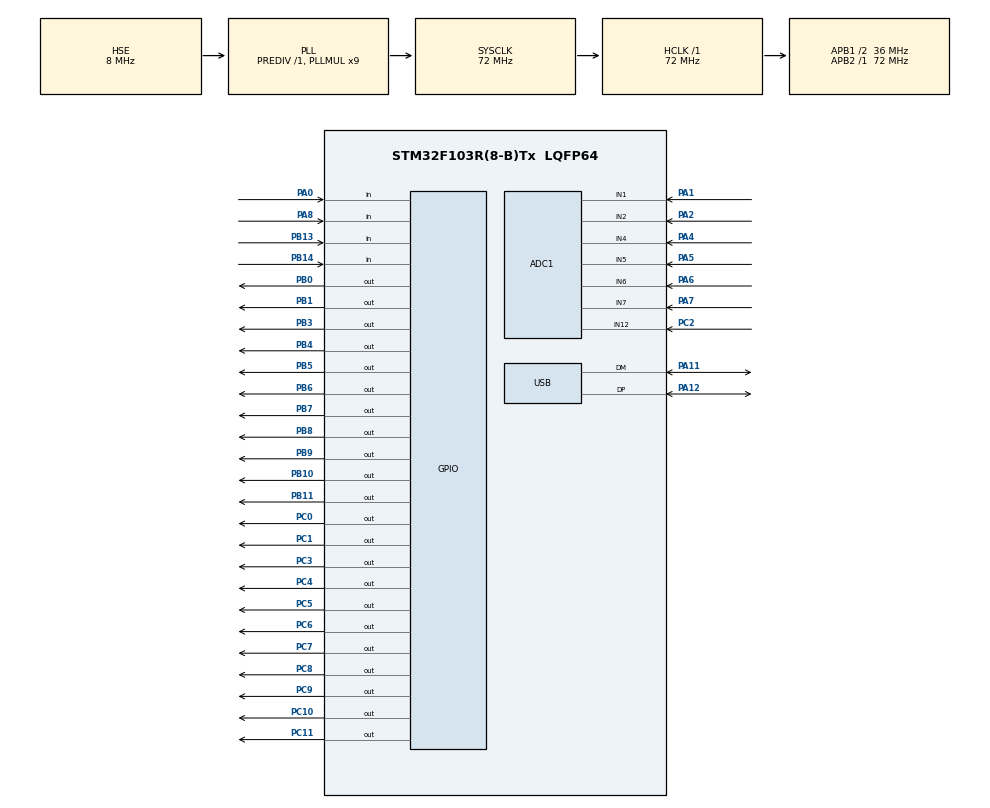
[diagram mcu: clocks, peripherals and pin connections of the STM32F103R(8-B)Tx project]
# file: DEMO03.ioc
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ADC1.Channel-10\#ChannelRegularConversion=ADC_CHANNEL_7
ADC1.Channel-4\#ChannelRegularConversion=ADC_CHANNEL_1
ADC1.Channel-5\#ChannelRegularConversion=ADC_CHANNEL_2
ADC1.Channel-6\#ChannelRegularConversion=ADC_CHANNEL_12
ADC1.Channel-7\#ChannelRegularConversion=ADC_CHANNEL_4
ADC1.Channel-8\#ChannelRegularConversion=ADC_CHANNEL_5
ADC1.Channel-9\#ChannelRegularConversion=ADC_CHANNEL_6
ADC1.ContinuousConvMode=ENABLE
ADC1.EnableAnalogWatchDog=false
ADC1.NbrOfConversion=7
ADC1.NbrOfConversionFlag=1
ADC1.Rank-10\#ChannelRegularConversion=7
ADC1.Rank-4\#ChannelRegularConversion=1
ADC1.Rank-5\#ChannelRegularConversion=2
ADC1.Rank-6\#ChannelRegularConversion=3
ADC1.Rank-7\#ChannelRegularConversion=4
ADC1.Rank-8\#ChannelRegularConversion=5
ADC1.Rank-9\#ChannelRegularConversion=6
ADC1.SamplingTime-10\#ChannelRegularConversion=ADC_SAMPLETIME_239CYCLES_5
ADC1.SamplingTime-4\#ChannelRegularConversion=ADC_SAMPLETIME_239CYCLES_5
ADC1.SamplingTime-5\#ChannelRegularConversion=ADC_SAMPLETIME_239CYCLES_5
ADC1.SamplingTime-6\#ChannelRegularConversion=ADC_SAMPLETIME_239CYCLES_5
ADC1.SamplingTime-7\#ChannelRegularConversion=ADC_SAMPLETIME_239CYCLES_5
ADC1.SamplingTime-8\#ChannelRegularConversion=ADC_SAMPLETIME_239CYCLES_5
ADC1.SamplingTime-9\#ChannelRegularConversion=ADC_SAMPLETIME_239CYCLES_5
ADC1.master=1
Dma.ADC1.0.Direction=DMA_PERIPH_TO_MEMORY
Dma.ADC1.0.Instance=DMA1_Channel1
Dma.ADC1.0.MemDataAlignment=DMA_MDATAALIGN_HALFWORD
Dma.ADC1.0.MemInc=DMA_MINC_ENABLE
Dma.ADC1.0.Mode=DMA_NORMAL
Dma.ADC1.0.PeriphDataAlignment=DMA_PDATAALIGN_HALFWORD
Dma.ADC1.0.PeriphInc=DMA_PINC_DISABLE
Dma.ADC1.0.Priority=DMA_PRIORITY_LOW
Dma.Request0=ADC1
Mcu.Family=STM32F1
Mcu.Name=STM32F103R(8-B)Tx
Mcu.Package=LQFP64
NVIC.DMA1_Channel1_IRQn=true\:0\:0\:false\:false\:true\:false\:true\:true
NVIC.PriorityGroup=NVIC_PRIORITYGROUP_4
NVIC.USB_LP_CAN1_RX0_IRQn=true\:0\:0\:false\:false\:true\:false\:true\:true
PA0-WKUP.Signal=GPIO_Input
PA1.Signal=ADCx_IN1
PA11.Mode=Device
PA11.Signal=USB_DM
PA12.Mode=Device
PA12.Signal=USB_DP
PA13.Mode=Serial_Wire
PA13.Signal=SYS_JTMS-SWDIO
PA14.Mode=Serial_Wire
PA14.Signal=SYS_JTCK-SWCLK
PA2.Signal=ADCx_IN2
PA4.Signal=ADCx_IN4
PA5.Signal=ADCx_IN5
PA6.Signal=ADCx_IN6
PA7.Signal=ADCx_IN7
PA8.Signal=GPIO_Input
PB0.Signal=GPIO_Output
PB1.Signal=GPIO_Output
PB10.Signal=GPIO_Output
PB11.Signal=GPIO_Output
PB13.Signal=GPIO_Input
PB14.Signal=GPIO_Input
PB3.Signal=GPIO_Output
PB4.Signal=GPIO_Output
PB5.Signal=GPIO_Output
PB6.Signal=GPIO_Output
PB7.Signal=GPIO_Output
PB8.Signal=GPIO_Output
PB9.Signal=GPIO_Output
PC0.Signal=GPIO_Output
PC1.Signal=GPIO_Output
PC10.Signal=GPIO_Output
PC11.Signal=GPIO_Output
PC2.Signal=ADCx_IN12
PC3.Signal=GPIO_Output
PC4.Signal=GPIO_Output
PC5.Signal=GPIO_Output
PC6.Signal=GPIO_Output
PC7.Signal=GPIO_Output
PC8.Signal=GPIO_Output
PC9.Signal=GPIO_Output
PD0-OSC_IN.Mode=HSE-External-Oscillator
PD0-OSC_IN.Signal=RCC_OSC_IN
PD1-OSC_OUT.Mode=HSE-External-Oscillator
PD1-OSC_OUT.Signal=RCC_OSC_OUT
ProjectManager.HeapSize=0x200
ProjectManager.StackSize=0x400
ProjectManager.TargetToolchain=MDK-ARM V5.32
RCC.ADCPresc=RCC_ADCPCLK2_DIV6
RCC.AHBFreq_Value=72000000
RCC.APB1CLKDivider=RCC_HCLK_DIV2
RCC.APB1Freq_Value=36000000
RCC.APB1TimFreq_Value=72000000
RCC.APB2Freq_Value=72000000
RCC.APB2TimFreq_Value=72000000
RCC.HCLKFreq_Value=72000000
RCC.PLLMUL=RCC_PLL_MUL9
RCC.SYSCLKFreq_VALUE=72000000
RCC.SYSCLKSource=RCC_SYSCLKSOURCE_PLLCLK
RCC.USBFreq_Value=48000000
RCC.USBPrescaler=RCC_USBCLKSOURCE_PLL_DIV1_5
SH.ADCx_IN1.0=ADC1_IN1,IN1
SH.ADCx_IN12.0=ADC1_IN12,IN12
SH.ADCx_IN2.0=ADC1_IN2,IN2
SH.ADCx_IN4.0=ADC1_IN4,IN4
SH.ADCx_IN5.0=ADC1_IN5,IN5
SH.ADCx_IN6.0=ADC1_IN6,IN6
SH.ADCx_IN7.0=ADC1_IN7,IN7
USB_DEVICE.CLASS_NAME_FS=CUSTOM_HID
USB_DEVICE.USBD_CUSTOMHID_OUTREPORT_BUF_SIZE=64
USB_DEVICE.USBD_CUSTOM_HID_REPORT_DESC_SIZE=30
USB_DEVICE.VirtualMode=CustomHid
USB_DEVICE.VirtualModeFS=Custom_Hid_FS
VP_USB_DEVICE_VS_USB_DEVICE_CUSTOM_HID_FS.Mode=CUSTOM_HID_FS
board=custom

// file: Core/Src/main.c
/* USER CODE BEGIN Header */
/**
  ******************************************************************************
  * @file           : main.c
  * @brief          : Main program body
  ******************************************************************************
  * @attention
  *
  * Copyright (c) 2024 STMicroelectronics.
  * All rights reserved.
  *
  * This software is licensed under terms that can be found in the LICENSE file
  * in the root directory of this software component.
  * If no LICENSE file comes with this software, it is provided AS-IS.
  *
  ******************************************************************************
  */
/* USER CODE END Header */
#include "main.h"
#include "usb_device.h"

/* USER CODE BEGIN Includes */
#include <stdio.h>
#include "usbd_customhid.h"
#define VREF_CAL *(_IO uint16_t*) ()
/* USER CODE END Includes */

/* USER CODE BEGIN PTD */
extern USBD_HandleTypeDef hUsbDeviceFS;
uint8_t USBdataFlag;
uint8_t USBRxBuff[64];
/* USER CODE END PTD */

ADC_HandleTypeDef hadc1;
DMA_HandleTypeDef hdma_adc1;

void SystemClock_Config(void);
static void MX_GPIO_Init(void);
static void MX_DMA_Init(void);
static void MX_ADC1_Init(void);

/* USER CODE BEGIN 0 */
typedef union
{
	struct
	{
		unsigned char low_byte;
		unsigned char mlow_byte;
		unsigned char mhigh_byte;
		unsigned char high_byte;
	}float_byte;

	float  value;
}floatUnionType;

int numbers[10] = {0x0e62,0X0202,0x0e28,0x062a,0x024a,0x046a,0x0c6a,0x0222,0x0e6a,0x066a};
int chars[] = {0x0c68,0x0a6a};
//int numbers[10] = {0x0ff2,0x0392,0x0fb8,0x07ba,0x03da,0x05fa,0x0dfa,0x03b2,0x0ffa,0x07fa};
int count = 0;
void func1(int c){
	switch(c){
		case 0:
			HAL_GPIO_WritePin(GPIOB,GPIO_PIN_4,GPIO_PIN_SET);
			HAL_GPIO_WritePin(GPIOB,GPIO_PIN_7,GPIO_PIN_SET);
			HAL_GPIO_WritePin(GPIOB,GPIO_PIN_8,GPIO_PIN_RESET);
		break;
		case 1:
			HAL_GPIO_WritePin(GPIOB,GPIO_PIN_4,GPIO_PIN_SET);
			HAL_GPIO_WritePin(GPIOB,GPIO_PIN_7,GPIO_PIN_RESET);
			HAL_GPIO_WritePin(GPIOB,GPIO_PIN_8,GPIO_PIN_SET);
		break;
		case 2:
			HAL_GPIO_WritePin(GPIOB,GPIO_PIN_4,GPIO_PIN_RESET);
			HAL_GPIO_WritePin(GPIOB,GPIO_PIN_7,GPIO_PIN_SET);
			HAL_GPIO_WritePin(GPIOB,GPIO_PIN_8,GPIO_PIN_SET);
		break;
		default:
			count = 0;
		break;
	}
	HAL_Delay(2);
	HAL_GPIO_WritePin(GPIOB,0x0190,GPIO_PIN_SET);
}

void func2(int c){
	switch(c){
		case 0:
			HAL_GPIO_WritePin(GPIOC,GPIO_PIN_4,GPIO_PIN_SET);
			HAL_GPIO_WritePin(GPIOC,GPIO_PIN_7,GPIO_PIN_SET);
			HAL_GPIO_WritePin(GPIOC,GPIO_PIN_8,GPIO_PIN_RESET);
		break;
		case 1:
			HAL_GPIO_WritePin(GPIOC,GPIO_PIN_4,GPIO_PIN_SET);
			HAL_GPIO_WritePin(GPIOC,GPIO_PIN_7,GPIO_PIN_RESET);
			HAL_GPIO_WritePin(GPIOC,GPIO_PIN_8,GPIO_PIN_SET);
		break;
		case 2:
			HAL_GPIO_WritePin(GPIOC,GPIO_PIN_4,GPIO_PIN_RESET);
			HAL_GPIO_WritePin(GPIOC,GPIO_PIN_7,GPIO_PIN_SET);
			HAL_GPIO_WritePin(GPIOC,GPIO_PIN_8,GPIO_PIN_SET);
		break;
		default:
			count = 0;
		break;
	}
	HAL_Delay(2);
	HAL_GPIO_WritePin(GPIOB,0x0190,GPIO_PIN_SET);
}

void show3(double num){
	HAL_GPIO_WritePin(GPIOB,0x0e6a,GPIO_PIN_RESET);
	if(num>0&&num<100){
		if(num<10&&num>1){
			HAL_GPIO_WritePin(GPIOB,numbers[(int)num],GPIO_PIN_SET);
			HAL_GPIO_WritePin(GPIOB,GPIO_PIN_0,GPIO_PIN_SET);
			func1(2);
			HAL_GPIO_WritePin(GPIOB,0x0e6a,GPIO_PIN_RESET);
			HAL_GPIO_WritePin(GPIOB,GPIO_PIN_0,GPIO_PIN_RESET);
			HAL_GPIO_WritePin(GPIOB,numbers[((int)(num*10))%10],GPIO_PIN_SET);

			func1(1);
			HAL_GPIO_WritePin(GPIOB,0x0e6a,GPIO_PIN_RESET);

			HAL_GPIO_WritePin(GPIOB,numbers[((int)(num*100))%10],GPIO_PIN_SET);
			func1(0);
		}else if(num>10){
			HAL_GPIO_WritePin(GPIOB,numbers[(int)(num/10)],GPIO_PIN_SET);
			func1(2);
			HAL_GPIO_WritePin(GPIOB,0x0e6a,GPIO_PIN_RESET);
			HAL_GPIO_WritePin(GPIOB,numbers[((int)num)%10],GPIO_PIN_SET);
			HAL_GPIO_WritePin(GPIOB,GPIO_PIN_0,GPIO_PIN_SET);
			func1(1);
			HAL_GPIO_WritePin(GPIOB,0x0e6a,GPIO_PIN_RESET);
			HAL_GPIO_WritePin(GPIOB,GPIO_PIN_0,GPIO_PIN_RESET);
			HAL_GPIO_WritePin(GPIOB,numbers[((int)(num*10))%10],GPIO_PIN_SET);
			func1(0);
		}else if(num<1){
			HAL_GPIO_WritePin(GPIOB,numbers[0],GPIO_PIN_SET);
			HAL_GPIO_WritePin(GPIOB,GPIO_PIN_0,GPIO_PIN_SET);
			func1(2);
			HAL_GPIO_WritePin(GPIOB,GPIO_PIN_0,GPIO_PIN_RESET);
			HAL_GPIO_WritePin(GPIOB,0x0e6a,GPIO_PIN_RESET);
			HAL_GPIO_WritePin(GPIOB,numbers[((int)(num*10))%10],GPIO_PIN_SET);
			func1(1);
			HAL_GPIO_WritePin(GPIOB,0x0e6a,GPIO_PIN_RESET);
			HAL_GPIO_WritePin(GPIOB,numbers[((int)(num*100))%10],GPIO_PIN_SET);
			func1(0);
		}
	}else if(num<0.0000001){
			HAL_GPIO_WritePin(GPIOB,numbers[0],GPIO_PIN_SET);
			HAL_GPIO_WritePin(GPIOB,GPIO_PIN_0,GPIO_PIN_SET);
			func1(2);
			HAL_GPIO_WritePin(GPIOB,GPIO_PIN_0,GPIO_PIN_RESET);
			HAL_GPIO_WritePin(GPIOB,0x0e6a,GPIO_PIN_RESET);
			HAL_GPIO_WritePin(GPIOB,numbers[0],GPIO_PIN_SET);
			func1(1);
			HAL_GPIO_WritePin(GPIOB,0x0e6a,GPIO_PIN_RESET);
			HAL_GPIO_WritePin(GPIOB,numbers[0],GPIO_PIN_SET);
			func1(0);
	}else{
			HAL_GPIO_WritePin(GPIOB,chars[0],GPIO_PIN_SET);
			func1(2);
			HAL_GPIO_WritePin(GPIOB,0x0e6a,GPIO_PIN_RESET);
			HAL_GPIO_WritePin(GPIOB,chars[1],GPIO_PIN_SET);
			func1(1);
			HAL_GPIO_WritePin(GPIOB,0x0e6a,GPIO_PIN_RESET);
			HAL_GPIO_WritePin(GPIOB,chars[1],GPIO_PIN_SET);
			func1(0);
	}
}

void show4(double num){
	HAL_GPIO_WritePin(GPIOC,0x0e6a,GPIO_PIN_RESET);
	if(num>0&&num<100){
		if(num<10&&num>1){
			HAL_GPIO_WritePin(GPIOC,numbers[(int)num],GPIO_PIN_SET);
			HAL_GPIO_WritePin(GPIOC,GPIO_PIN_0,GPIO_PIN_SET);
			func2(2);
			HAL_GPIO_WritePin(GPIOC,0x0e6a,GPIO_PIN_RESET);
			HAL_GPIO_WritePin(GPIOC,GPIO_PIN_0,GPIO_PIN_RESET);
			HAL_GPIO_WritePin(GPIOC,numbers[((int)(num*10))%10],GPIO_PIN_SET);

			func2(1);
			HAL_GPIO_WritePin(GPIOC,0x0e6a,GPIO_PIN_RESET);

			HAL_GPIO_WritePin(GPIOC,numbers[((int)(num*100))%10],GPIO_PIN_SET);
			func2(0);
		}else if(num>10){
			HAL_GPIO_WritePin(GPIOC,numbers[(int)(num/10)],GPIO_PIN_SET);
			func2(2);
			HAL_GPIO_WritePin(GPIOC,0x0e6a,GPIO_PIN_RESET);
			HAL_GPIO_WritePin(GPIOC,numbers[((int)num)%10],GPIO_PIN_SET);
			HAL_GPIO_WritePin(GPIOC,GPIO_PIN_0,GPIO_PIN_SET);
			func2(1);
			HAL_GPIO_WritePin(GPIOC,0x0e6a,GPIO_PIN_RESET);
			HAL_GPIO_WritePin(GPIOC,GPIO_PIN_0,GPIO_PIN_RESET);
			HAL_GPIO_WritePin(GPIOC,numbers[((int)(num*10))%10],GPIO_PIN_SET);
			func2(0);
		}else if(num<1){
			HAL_GPIO_WritePin(GPIOC,numbers[0],GPIO_PIN_SET);
			HAL_GPIO_WritePin(GPIOC,GPIO_PIN_0,GPIO_PIN_SET);
			func2(2);
			HAL_GPIO_WritePin(GPIOC,GPIO_PIN_0,GPIO_PIN_RESET);
			HAL_GPIO_WritePin(GPIOC,0x0e6a,GPIO_PIN_RESET);
			HAL_GPIO_WritePin(GPIOC,numbers[((int)(num*10))%10],GPIO_PIN_SET);
			func2(1);
			HAL_GPIO_WritePin(GPIOC,0x0e6a,GPIO_PIN_RESET);
			HAL_GPIO_WritePin(GPIOC,numbers[((int)(num*100))%10],GPIO_PIN_SET);
			func2(0);
		}
	}else if(num<0.0000001){
			HAL_GPIO_WritePin(GPIOC,numbers[0],GPIO_PIN_SET);
			HAL_GPIO_WritePin(GPIOC,GPIO_PIN_0,GPIO_PIN_SET);
			func2(2);
			HAL_GPIO_WritePin(GPIOC,GPIO_PIN_0,GPIO_PIN_RESET);
			HAL_GPIO_WritePin(GPIOC,0x0e6a,GPIO_PIN_RESET);
			HAL_GPIO_WritePin(GPIOC,numbers[0],GPIO_PIN_SET);
			func2(1);
			HAL_GPIO_WritePin(GPIOC,0x0e6a,GPIO_PIN_RESET);
			HAL_GPIO_WritePin(GPIOC,numbers[0],GPIO_PIN_SET);
			func2(0);
	}else{
			HAL_GPIO_WritePin(GPIOC,chars[0],GPIO_PIN_SET);
			func2(2);
			HAL_GPIO_WritePin(GPIOC,0x0e6a,GPIO_PIN_RESET);
			HAL_GPIO_WritePin(GPIOC,chars[1],GPIO_PIN_SET);
			func2(1);
			HAL_GPIO_WritePin(GPIOC,0x0e6a,GPIO_PIN_RESET);
			HAL_GPIO_WritePin(GPIOC,chars[1],GPIO_PIN_SET);
			func2(0);
	}
}

HAL_StatusTypeDef HAL_ADC_Start_DMA(ADC_HandleTypeDef* hadc, uint32_t* pData, uint32_t Length);
unsigned short val[9];//??????DMA????????
float vii[8];//???????????
	void HAL_ADC_ConvCpltCallback(ADC_HandleTypeDef* hadc)
{
	for(int8_t i = 0; i < 2; i++) {
	vii[i] = (val[i] / 4095.0) * 3.274; //?????:3.274V
}
}
/* USER CODE END 0 */

int main(void)
{

  /* MCU Configuration--------------------------------------------------------*/

  /* Reset of all peripherals, Initializes the Flash interface and the Systick. */
  HAL_Init();

  /* USER CODE BEGIN Init */
	uint8_t vol[64]={0};
	floatUnionType fu[16];
  /* USER CODE END Init */

  /* Configure the system clock */
  SystemClock_Config();

  /* Initialize all configured peripherals */
  MX_GPIO_Init();
  MX_DMA_Init();
  MX_ADC1_Init();
  MX_USB_DEVICE_Init();

  /* Infinite loop */
  /* USER CODE BEGIN WHILE */
  while (1)
  {
		HAL_ADCEx_Calibration_Start(&hadc1);
		HAL_ADC_Start_DMA(&hadc1,(uint32_t*)val,7);

    /* USER CODE END WHILE */

    /* USER CODE BEGIN 3 */
		for(int i =0;i<7;i++){
			fu[i].value=(float)val[i];
		}

		for(int i=0;i<7;i++){
			vol[i*4] = fu[i].float_byte.low_byte;
			vol[i*4+1] = fu[i].float_byte.mlow_byte;
			vol[i*4+2] = fu[i].float_byte.mhigh_byte;
			vol[i*4+3] = fu[i].float_byte.high_byte;
		}

		for(int p =0;p<100;p++){

				show4(fu[USBRxBuff[0]].value/4096*3.3*10);

		}

		if(USBD_CUSTOM_HID_SendReport(&hUsbDeviceFS, vol, 64) == USBD_OK)
	{

	}
  }
  /* USER CODE END 3 */
}

void SystemClock_Config(void)
{
  RCC_OscInitTypeDef RCC_OscInitStruct = {0};
  RCC_ClkInitTypeDef RCC_ClkInitStruct = {0};
  RCC_PeriphCLKInitTypeDef PeriphClkInit = {0};

  /** Initializes the RCC Oscillators according to the specified parameters
  * in the RCC_OscInitTypeDef structure.
  */
  RCC_OscInitStruct.OscillatorType = RCC_OSCILLATORTYPE_HSE;
  RCC_OscInitStruct.HSEState = RCC_HSE_ON;
  RCC_OscInitStruct.HSEPredivValue = RCC_HSE_PREDIV_DIV1;
  RCC_OscInitStruct.HSIState = RCC_HSI_ON;
  RCC_OscInitStruct.PLL.PLLState = RCC_PLL_ON;
  RCC_OscInitStruct.PLL.PLLSource = RCC_PLLSOURCE_HSE;
  RCC_OscInitStruct.PLL.PLLMUL = RCC_PLL_MUL9;
  if (HAL_RCC_OscConfig(&RCC_OscInitStruct) != HAL_OK)
  {
    Error_Handler();
  }

  /** Initializes the CPU, AHB and APB buses clocks
  */
  RCC_ClkInitStruct.ClockType = RCC_CLOCKTYPE_HCLK|RCC_CLOCKTYPE_SYSCLK
                              |RCC_CLOCKTYPE_PCLK1|RCC_CLOCKTYPE_PCLK2;
  RCC_ClkInitStruct.SYSCLKSource = RCC_SYSCLKSOURCE_PLLCLK;
  RCC_ClkInitStruct.AHBCLKDivider = RCC_SYSCLK_DIV1;
  RCC_ClkInitStruct.APB1CLKDivider = RCC_HCLK_DIV2;
  RCC_ClkInitStruct.APB2CLKDivider = RCC_HCLK_DIV1;

  if (HAL_RCC_ClockConfig(&RCC_ClkInitStruct, FLASH_LATENCY_2) != HAL_OK)
  {
    Error_Handler();
  }
  PeriphClkInit.PeriphClockSelection = RCC_PERIPHCLK_ADC|RCC_PERIPHCLK_USB;
  PeriphClkInit.AdcClockSelection = RCC_ADCPCLK2_DIV6;
  PeriphClkInit.UsbClockSelection = RCC_USBCLKSOURCE_PLL_DIV1_5;
  if (HAL_RCCEx_PeriphCLKConfig(&PeriphClkInit) != HAL_OK)
  {
    Error_Handler();
  }
}

static void MX_ADC1_Init(void)
{

  ADC_ChannelConfTypeDef sConfig = {0};

  /** Common config
  */
  hadc1.Instance = ADC1;
  hadc1.Init.ScanConvMode = ADC_SCAN_ENABLE;
  hadc1.Init.ContinuousConvMode = ENABLE;
  hadc1.Init.DiscontinuousConvMode = DISABLE;
  hadc1.Init.ExternalTrigConv = ADC_SOFTWARE_START;
  hadc1.Init.DataAlign = ADC_DATAALIGN_RIGHT;
  hadc1.Init.NbrOfConversion = 7;
  if (HAL_ADC_Init(&hadc1) != HAL_OK)
  {
    Error_Handler();
  }

  /** Configure Regular Channel
  */
  sConfig.Channel = ADC_CHANNEL_1;
  sConfig.Rank = ADC_REGULAR_RANK_1;
  sConfig.SamplingTime = ADC_SAMPLETIME_239CYCLES_5;
  if (HAL_ADC_ConfigChannel(&hadc1, &sConfig) != HAL_OK)
  {
    Error_Handler();
  }

  /** Configure Regular Channel
  */
  sConfig.Channel = ADC_CHANNEL_2;
  sConfig.Rank = ADC_REGULAR_RANK_2;
  if (HAL_ADC_ConfigChannel(&hadc1, &sConfig) != HAL_OK)
  {
    Error_Handler();
  }

  /** Configure Regular Channel
  */
  sConfig.Channel = ADC_CHANNEL_12;
  sConfig.Rank = ADC_REGULAR_RANK_3;
  if (HAL_ADC_ConfigChannel(&hadc1, &sConfig) != HAL_OK)
  {
    Error_Handler();
  }

  /** Configure Regular Channel
  */
  sConfig.Channel = ADC_CHANNEL_4;
  sConfig.Rank = ADC_REGULAR_RANK_4;
  if (HAL_ADC_ConfigChannel(&hadc1, &sConfig) != HAL_OK)
  {
    Error_Handler();
  }

  /** Configure Regular Channel
  */
  sConfig.Channel = ADC_CHANNEL_5;
  sConfig.Rank = ADC_REGULAR_RANK_5;
  if (HAL_ADC_ConfigChannel(&hadc1, &sConfig) != HAL_OK)
  {
    Error_Handler();
  }

  /** Configure Regular Channel
  */
  sConfig.Channel = ADC_CHANNEL_6;
  sConfig.Rank = ADC_REGULAR_RANK_6;
  if (HAL_ADC_ConfigChannel(&hadc1, &sConfig) != HAL_OK)
  {
    Error_Handler();
  }

  /** Configure Regular Channel
  */
  sConfig.Channel = ADC_CHANNEL_7;
  sConfig.Rank = ADC_REGULAR_RANK_7;
  if (HAL_ADC_ConfigChannel(&hadc1, &sConfig) != HAL_OK)
  {
    Error_Handler();
  }

}

static void MX_DMA_Init(void)
{

  /* DMA controller clock enable */
  __HAL_RCC_DMA1_CLK_ENABLE();

  /* DMA interrupt init */
  /* DMA1_Channel1_IRQn interrupt configuration */
  HAL_NVIC_SetPriority(DMA1_Channel1_IRQn, 0, 0);
  HAL_NVIC_EnableIRQ(DMA1_Channel1_IRQn);

}

static void MX_GPIO_Init(void)
{
  GPIO_InitTypeDef GPIO_InitStruct = {0};

  /* GPIO Ports Clock Enable */
  __HAL_RCC_GPIOD_CLK_ENABLE();
  __HAL_RCC_GPIOC_CLK_ENABLE();
  __HAL_RCC_GPIOA_CLK_ENABLE();
  __HAL_RCC_GPIOB_CLK_ENABLE();

  /*Configure GPIO pin Output Level */
  HAL_GPIO_WritePin(GPIOC, GPIO_PIN_0|GPIO_PIN_1|GPIO_PIN_3|GPIO_PIN_4
                          |GPIO_PIN_5|GPIO_PIN_6|GPIO_PIN_7|GPIO_PIN_8
                          |GPIO_PIN_9|GPIO_PIN_10|GPIO_PIN_11, GPIO_PIN_RESET);

  /*Configure GPIO pin Output Level */
  HAL_GPIO_WritePin(GPIOB, GPIO_PIN_0|GPIO_PIN_1|GPIO_PIN_10|GPIO_PIN_11
                          |GPIO_PIN_3|GPIO_PIN_4|GPIO_PIN_5|GPIO_PIN_6
                          |GPIO_PIN_7|GPIO_PIN_8|GPIO_PIN_9, GPIO_PIN_RESET);

  /*Configure GPIO pins : PC0 PC1 PC3 PC4
                           PC5 PC6 PC7 PC8
                           PC9 PC10 PC11 */
  GPIO_InitStruct.Pin = GPIO_PIN_0|GPIO_PIN_1|GPIO_PIN_3|GPIO_PIN_4
                          |GPIO_PIN_5|GPIO_PIN_6|GPIO_PIN_7|GPIO_PIN_8
                          |GPIO_PIN_9|GPIO_PIN_10|GPIO_PIN_11;
  GPIO_InitStruct.Mode = GPIO_MODE_OUTPUT_PP;
  GPIO_InitStruct.Pull = GPIO_NOPULL;
  GPIO_InitStruct.Speed = GPIO_SPEED_FREQ_LOW;
  HAL_GPIO_Init(GPIOC, &GPIO_InitStruct);

  /*Configure GPIO pins : PA0 PA8 */
  GPIO_InitStruct.Pin = GPIO_PIN_0|GPIO_PIN_8;
  GPIO_InitStruct.Mode = GPIO_MODE_INPUT;
  GPIO_InitStruct.Pull = GPIO_NOPULL;
  HAL_GPIO_Init(GPIOA, &GPIO_InitStruct);

  /*Configure GPIO pins : PB0 PB1 PB10 PB11
                           PB3 PB4 PB5 PB6
                           PB7 PB8 PB9 */
  GPIO_InitStruct.Pin = GPIO_PIN_0|GPIO_PIN_1|GPIO_PIN_10|GPIO_PIN_11
                          |GPIO_PIN_3|GPIO_PIN_4|GPIO_PIN_5|GPIO_PIN_6
                          |GPIO_PIN_7|GPIO_PIN_8|GPIO_PIN_9;
  GPIO_InitStruct.Mode = GPIO_MODE_OUTPUT_PP;
  GPIO_InitStruct.Pull = GPIO_NOPULL;
  GPIO_InitStruct.Speed = GPIO_SPEED_FREQ_LOW;
  HAL_GPIO_Init(GPIOB, &GPIO_InitStruct);

  /*Configure GPIO pins : PB13 PB14 */
  GPIO_InitStruct.Pin = GPIO_PIN_13|GPIO_PIN_14;
  GPIO_InitStruct.Mode = GPIO_MODE_INPUT;
  GPIO_InitStruct.Pull = GPIO_NOPULL;
  HAL_GPIO_Init(GPIOB, &GPIO_InitStruct);

}

void Error_Handler(void)
{
  __disable_irq();
  while (1)
  {
  }
}
